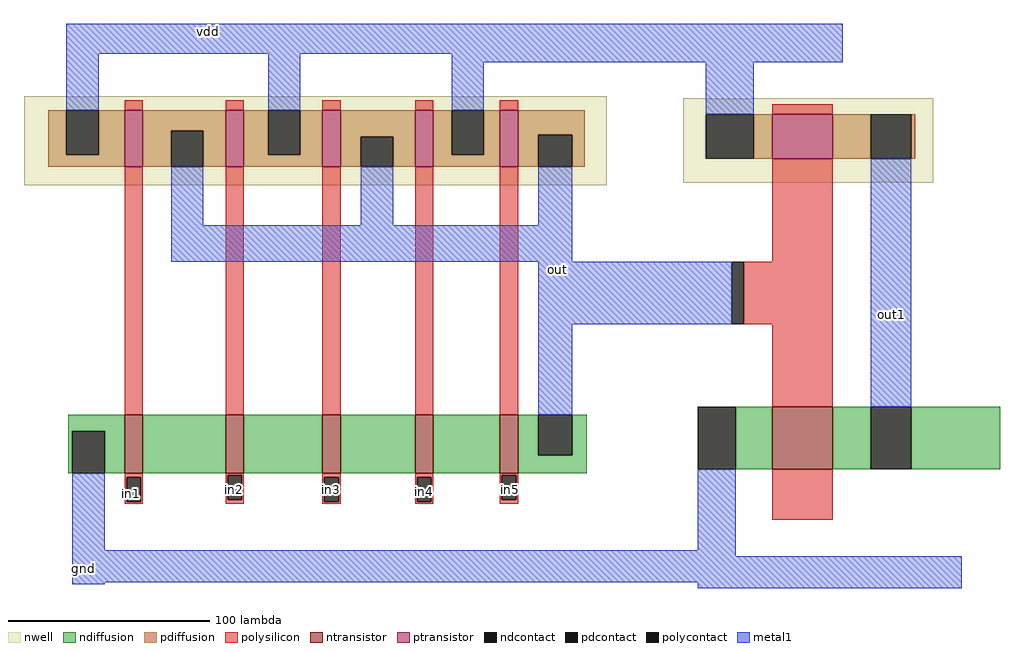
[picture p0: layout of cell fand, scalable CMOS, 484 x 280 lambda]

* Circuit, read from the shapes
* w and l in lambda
.subckt fand gnd in1 in2 in3 in4 in5 out out1 vdd
M1 n1 in1 gnd VSUBS nfet w=29 l=9
M2 n2 in2 n1 VSUBS nfet w=29 l=9
M3 n3 in3 n2 VSUBS nfet w=29 l=9
M4 n4 in4 n3 VSUBS nfet w=29 l=9
M5 out in5 n4 VSUBS nfet w=29 l=9
M6 out1 out gnd VSUBS nfet w=31 l=30
M7 out in1 vdd n5 pfet w=28 l=9
M8 vdd in2 out n5 pfet w=28 l=9
M9 out in3 vdd n5 pfet w=28 l=9
M10 vdd in4 out n5 pfet w=28 l=9
M11 out in5 vdd n5 pfet w=28 l=9
M12 out1 out vdd n6 pfet w=22 l=30
.ends

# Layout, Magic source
magic
tech scmos
<< nwell >>
rect -133 43 156 87
rect 194 44 318 86
<< ntransistor >>
rect -83 -100 -74 -71
rect -33 -100 -24 -71
rect 15 -100 24 -71
rect 61 -100 70 -71
rect 103 -100 112 -71
rect 238 -98 268 -67
<< ptransistor >>
rect -83 52 -74 80
rect -33 52 -24 80
rect 15 52 24 80
rect 61 52 70 80
rect 103 52 112 80
rect 238 56 268 78
<< ndiffusion >>
rect -111 -79 -83 -71
rect -111 -100 -109 -79
rect -93 -100 -83 -79
rect -74 -100 -33 -71
rect -24 -100 15 -71
rect 24 -100 61 -71
rect 70 -100 103 -71
rect 112 -91 122 -71
rect 139 -91 146 -71
rect 112 -100 146 -91
rect 220 -98 238 -67
rect 268 -98 287 -67
rect 307 -98 351 -67
<< pdiffusion >>
rect -121 58 -112 80
rect -96 58 -83 80
rect -121 52 -83 58
rect -74 70 -33 80
rect -74 52 -60 70
rect -44 52 -33 70
rect -24 58 -12 80
rect 4 58 15 80
rect -24 52 15 58
rect 24 67 61 80
rect 24 52 34 67
rect 50 52 61 67
rect 70 58 79 80
rect 95 58 103 80
rect 70 52 103 58
rect 112 68 145 80
rect 112 52 122 68
rect 139 52 145 68
rect 229 56 238 78
rect 268 56 287 78
rect 307 56 309 78
<< ndcontact >>
rect -109 -100 -93 -79
rect 122 -91 139 -71
rect 201 -98 220 -67
rect 287 -98 307 -67
<< pdcontact >>
rect -112 58 -96 80
rect -60 52 -44 70
rect -12 58 4 80
rect 34 52 50 67
rect 79 58 95 80
rect 122 52 139 68
rect 205 56 229 78
rect 287 56 307 78
<< polysilicon >>
rect -83 80 -74 85
rect -33 80 -24 85
rect 15 80 24 85
rect 61 80 70 85
rect 103 80 112 85
rect 238 78 268 83
rect -83 -71 -74 52
rect -33 -71 -24 52
rect 15 -71 24 52
rect 61 -71 70 52
rect 103 -71 112 52
rect 238 5 268 56
rect 224 -26 268 5
rect 238 -67 268 -26
rect -83 -102 -74 -100
rect -83 -114 -82 -102
rect -75 -114 -74 -102
rect -83 -115 -74 -114
rect -33 -101 -24 -100
rect -33 -113 -32 -101
rect -25 -113 -24 -101
rect -33 -115 -24 -113
rect 15 -102 24 -100
rect 15 -114 16 -102
rect 23 -114 24 -102
rect 15 -115 24 -114
rect 61 -102 70 -100
rect 61 -114 62 -102
rect 69 -114 70 -102
rect 61 -115 70 -114
rect 103 -101 112 -100
rect 103 -113 104 -101
rect 111 -113 112 -101
rect 103 -115 112 -113
rect 238 -123 268 -98
<< polycontact >>
rect 218 -26 224 5
rect -82 -114 -75 -102
rect -32 -113 -25 -101
rect 16 -114 23 -102
rect 62 -114 69 -102
rect 104 -113 111 -101
<< metal1 >>
rect -112 108 273 123
rect -112 80 -96 108
rect -12 80 4 108
rect 79 104 273 108
rect 79 80 95 104
rect -60 23 -44 52
rect 205 78 229 104
rect 34 23 50 52
rect 122 23 139 52
rect -60 5 139 23
rect 122 -26 218 5
rect 122 -71 139 -26
rect 287 -67 307 56
rect -109 -138 -93 -100
rect 201 -138 220 -98
rect -109 -141 220 -138
rect -109 -154 332 -141
rect -109 -155 -93 -154
rect 201 -157 332 -154
<< labels >>
rlabel polycontact -81 -112 -78 -108 1 in1
rlabel polycontact -30 -110 -27 -106 1 in2
rlabel polycontact 18 -110 21 -106 1 in3
rlabel polycontact 64 -111 67 -107 1 in4
rlabel polycontact 107 -110 110 -106 1 in5
rlabel metal1 -105 -149 -102 -145 1 gnd
rlabel metal1 -43 117 -40 121 5 vdd
rlabel metal1 130 -1 133 3 1 out
rlabel metal1 295 -22 299 -20 1 out1
<< end >>
